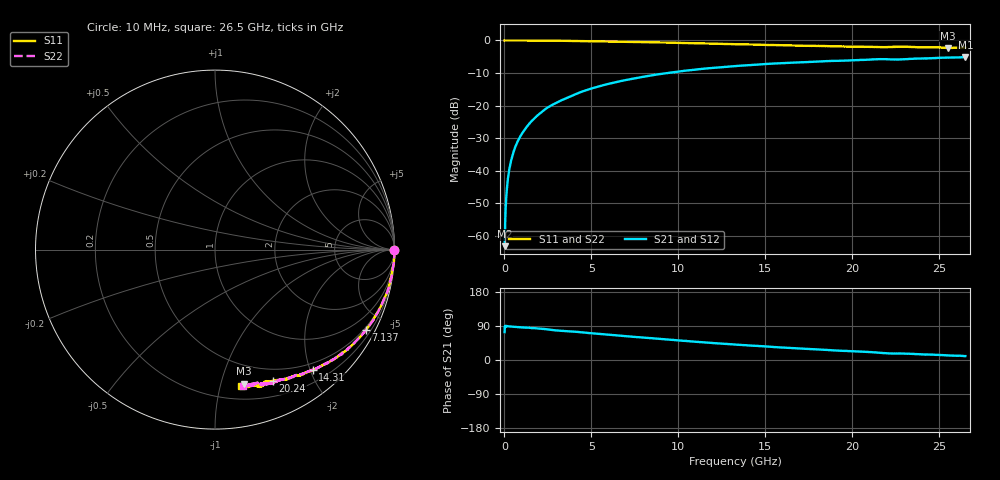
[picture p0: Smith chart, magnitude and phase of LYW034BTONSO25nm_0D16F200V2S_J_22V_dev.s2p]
!Keysight Technologies,N5222B,MY61253708,A.15.00.15
!Date: Wednesday, June 19, 2024 08:49:14
!Correction: S11(C  2-Port  )
!S21(C  2-Port  )
!S12(C  2-Port  )
!S22(C  2-Port  )
!S2P File: Measurements: S11, S21, S12, S22:
# Hz S  RI  R 50
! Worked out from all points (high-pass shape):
!   2651 points, 10 MHz to 26.5 GHz, reference 50 ohm
!   highest |S21| = -5.10 dB at 26.5 GHz (marker M1); lowest = -63.2 dB at 10 MHz (marker M2)
!   |S21| within 3 dB of the highest: 12.75 GHz to end of sweep
!   lowest |S11| = -2.3 dB at 25.5 GHz (marker M3), VSWR 7.50, Z = 16.5 - j59.4 ohm
!   |S11| at or under -10 dB: nowhere
!   |S22| runs from -2.2 to 0.0 dB; largest |S21 - S12| = 0.0077
!   S11 on the Smith chart (normalised r, x): 10 MHz: open; 7.137 GHz: 0.41, -3.98; 14.31 GHz: 0.38, -2.04; 20.24 GHz: 0.36, -1.47; 26.5 GHz: 0.30, -1.16
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1e7  0.9988 -0.00256  0.000194 0.000661  6.57e-05 0.000776  0.9987 -0.00102
7.997358e7  0.9998 -0.00599  1.67e-05 0.00298  2.85e-05 0.00299  0.9993 -0.00546
1.799358e8  0.9998 -0.0129  8.94e-05 0.0067  0.000103 0.00674  0.9995 -0.0124
2.29917e8  0.9993 -0.0173  0.000159 0.00854  0.000144 0.00858  0.999 -0.0163
2.998906e8  0.9995 -0.022  0.00026 0.0112  0.000292 0.0112  0.9992 -0.0211
4.098491e8  0.9988 -0.0298  0.000469 0.0152  0.000481 0.0153  0.9991 -0.0287
5.497962e8  0.9985 -0.0398  0.000823 0.0204  0.000787 0.0205  0.9984 -0.0388
9.096604e8  0.9968 -0.0655  0.00221 0.0334  0.00223 0.0336  0.9967 -0.0644
1.499438e9  0.9884 -0.1077  0.00536 0.0552  0.00534 0.0554  0.9914 -0.1046
2.369109e9  0.9783 -0.1651  0.0133 0.0879  0.0136 0.0884  0.9797 -0.1651
3.208792e9  0.9639 -0.2216  0.0261 0.115  0.0263 0.1156  0.9643 -0.2203
4.428332e9  0.9323 -0.2978  0.0471 0.1554  0.0474 0.1563  0.9341 -0.2947
7.137309e9  0.8419 -0.446  0.1171 0.2221  0.1183 0.2228  0.8446 -0.4441
8.846664e9  0.774 -0.5215  0.1689 0.2504  0.1703 0.2512  0.7762 -0.5192
1.3255e10  0.5861 -0.651  0.3054 0.2641  0.3076 0.264  0.5905 -0.6494
1.43146e10  0.544 -0.6717  0.3332 0.2572  0.3349 0.2576  0.5488 -0.6681
1.767333e10  0.4096 -0.7163  0.4113 0.2244  0.4147 0.223  0.4221 -0.7144
2.024236e10  0.3231 -0.7339  0.4602 0.1908  0.4628 0.1894  0.3394 -0.7338
2.209166e10  0.278 -0.7379  0.4891 0.1539  0.4906 0.1517  0.2737 -0.7452
2.308129e10  0.2486 -0.7652  0.4937 0.1485  0.4944 0.1485  0.2505 -0.747
2.550038e10  0.1633 -0.7471  0.5333 0.1121  0.5347 0.1132  0.1846 -0.7534
2.65e10  0.1457 -0.7617  0.5464 0.1009  0.5454 0.0979  0.1587 -0.7623
